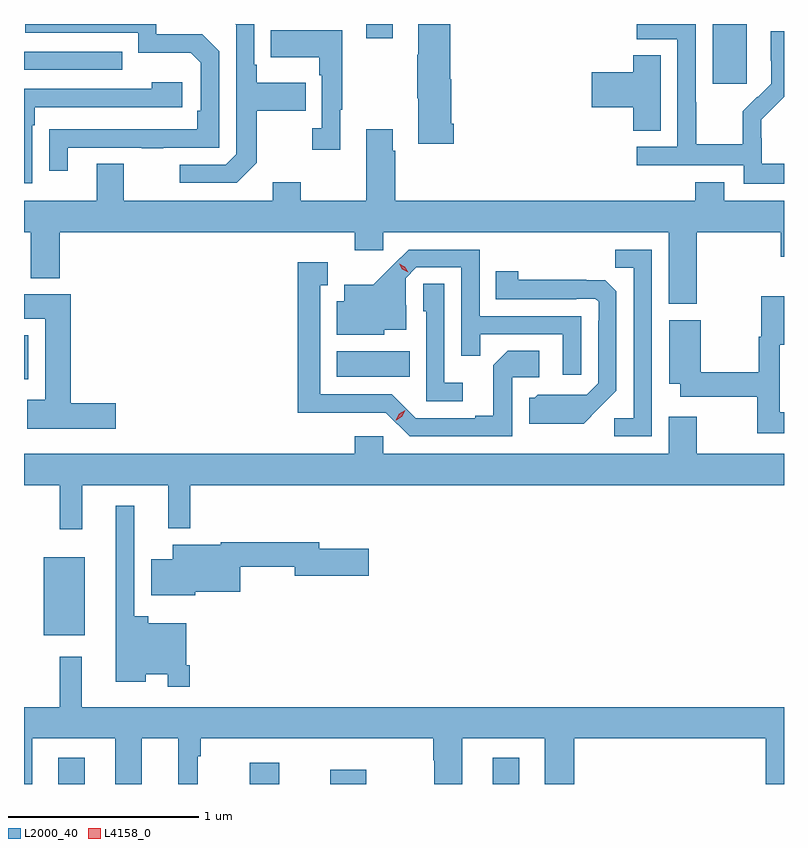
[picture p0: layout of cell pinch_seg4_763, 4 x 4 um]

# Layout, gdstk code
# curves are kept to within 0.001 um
import gdstk
lib = gdstk.Library(unit=1e-6, precision=1e-09)
def R(c, l, rs):  # rectangles x0, y0, x1, y1
    for r in rs: c.add(gdstk.rectangle(r[:2], r[2:], *l))
def P(c, l, *ps):  # polygons
    for p in ps: c.add(gdstk.Polygon(p, *l))
L2000_40 = (2000, 40)
L4158_0 = (4158, 0)

pinch_seg4_763 = lib.new_cell('pinch_seg4_763')
R(pinch_seg4_763, L2000_40, [(793.469,823.219,793.609,823.357), (794.477,823.219,794.632,823.33), (794.901,823.219,795.091,823.294), (795.755,823.219,795.895,823.357), (793.394,824.003,793.609,824.413), (793.289,825.35,793.312,825.58), (794.936,825.362,795.32,825.496), (796.913,826.905,797.092,827.219), (793.289,826.977,793.805,827.073), (795.089,827.145,795.229,827.219)])
P(pinch_seg4_763, L2000_40, [(797.289,826.483),(797.172,826.483),(797.172,826.617),(797.17,826.617),(797.17,826.714),(797.289,826.835),(797.289,827.18),(797.22,827.18),(797.22,827.026),(797.222,827.026),(797.222,826.904),(797.151,826.833),(797.148,826.836),(797.071,826.759),(797.071,826.585),(796.827,826.585),(796.827,826.808),(796.824,826.808),(796.824,827.219),(796.515,827.219),(796.515,827.139),(796.728,827.139),(796.728,826.572),(796.515,826.572),(796.515,826.476),(797.076,826.476),(797.076,826.379),(797.289,826.379)],
  [(793.519,826.569),(793.909,826.569),(793.909,826.564),(794.021,826.564),(794.021,826.569),(794.316,826.569),(794.316,827.076),(794.226,827.166),(793.986,827.166),(793.986,827.219),(793.295,827.219),(793.295,827.172),(793.89,827.172),(793.89,827.069),(794.167,827.069),(794.22,827.016),(794.22,826.762),(794.2,826.762),(794.2,826.665),(793.423,826.664),(793.423,826.446),(793.519,826.446)],
  [(795.551,826.693),(795.538,826.693),(795.538,826.929),(795.533,826.929),(795.533,827.219),(795.365,827.219),(795.365,827.057),(795.358,827.057),(795.358,826.829),(795.365,826.829),(795.365,826.589),(795.551,826.589)],
  [(794.515,826.489),(794.515,826.762),(794.771,826.762),(794.771,826.909),(794.515,826.909),(794.515,827.005),(794.502,827.005),(794.502,827.219),(794.401,827.219),(794.406,827.214),(794.406,826.533),(794.352,826.479),(794.109,826.479),(794.109,826.383),(794.409,826.383)],
  [(794.953,826.769),(794.965,826.769),(794.965,827.185),(794.587,827.185),(794.587,827.045),(794.844,827.045),(794.844,826.949),(794.856,826.949),(794.856,826.67),(794.805,826.67),(794.805,826.557),(794.953,826.557)],
  [(796.639,827.054),(796.496,827.054),(796.496,826.964),(796.278,826.964),(796.278,826.781),(796.496,826.781),(796.496,826.657),(796.639,826.657)],
  [(793.332,826.685),(793.345,826.685),(793.345,826.782),(794.122,826.782),(794.122,826.912),(793.961,826.912),(793.961,826.878),(793.289,826.878),(793.289,826.38),(793.332,826.38)],
  [(796.83,826.124),(797.272,826.124),(797.272,825.993),(797.289,825.993),(797.289,826.288),(796.975,826.288),(796.975,826.387),(796.823,826.387),(796.823,826.288),(795.242,826.288),(795.242,826.553),(795.229,826.553),(795.229,826.666),(795.089,826.666),(795.089,826.288),(794.745,826.288),(794.745,826.387),(794.597,826.387),(794.597,826.288),(793.813,826.288),(793.813,826.483),(793.673,826.483),(793.673,826.288),(793.289,826.288),(793.289,826.124),(793.325,826.124),(793.325,825.881),(793.478,825.881),(793.478,826.124),(795.029,826.124),(795.029,826.029),(795.18,826.029),(795.18,826.124),(796.682,826.124),(796.682,825.746),(796.83,825.746)],
  [(796.593,826.032),(796.402,826.032),(796.402,825.937),(796.497,825.937),(796.497,825.144),(796.395,825.144),(796.395,825.048),(796.593,825.048)],
  [(796.221,825.681),(795.687,825.681),(795.687,826.032),(795.314,826.032),(795.127,825.847),(794.975,825.847),(794.975,825.76),(794.936,825.76),(794.936,825.584),(795.186,825.584),(795.186,825.611),(795.301,825.611),(795.301,825.74),(795.297,825.74),(795.297,825.882),(795.354,825.939),(795.591,825.939),(795.591,825.472),(795.689,825.472),(795.689,825.585),(796.125,825.585),(796.125,825.372),(796.221,825.372)],
  [(795.858,825.36),(796,825.36),(796,825.5),(795.835,825.5),(795.759,825.424),(795.759,825.157),(795.665,825.157),(795.665,825.144),(795.351,825.144),(795.225,825.27),(794.848,825.27),(794.848,825.843),(794.887,825.843),(794.887,825.964),(794.73,825.964),(794.73,825.173),(795.192,825.174),(795.318,825.048),(795.858,825.048)],
  [(796.315,825.197),(796.407,825.29),(796.407,825.812),(796.348,825.871),(795.891,825.872),(795.891,825.919),(795.772,825.919),(795.772,825.771),(796.196,825.771),(796.196,825.774),(796.296,825.774),(796.314,825.756),(796.314,825.656),(796.311,825.656),(796.311,825.327),(796.251,825.267),(795.994,825.268),(795.978,825.252),(795.947,825.252),(795.947,825.116),(796.235,825.116)],
  [(795.598,825.331),(795.501,825.331),(795.501,825.851),(795.39,825.851),(795.39,825.708),(795.405,825.708),(795.405,825.234),(795.598,825.234)],
  [(793.771,825.224),(793.535,825.224),(793.535,825.796),(793.289,825.796),(793.289,825.668),(793.4,825.668),(793.4,825.241),(793.305,825.241),(793.305,825.089),(793.771,825.089)],
  [(797.289,825.175),(797.267,825.175),(797.267,825.53),(797.289,825.53),(797.289,825.787),(797.168,825.787),(797.168,825.573),(797.157,825.573),(797.157,825.386),(796.852,825.386),(796.852,825.661),(796.685,825.661),(796.685,825.326),(796.742,825.326),(796.742,825.258),(797.149,825.258),(797.149,825.066),(797.289,825.066)],
  [(793.595,824.792),(794.048,824.792),(794.048,824.564),(794.165,824.564),(794.165,824.792),(797.289,824.792),(797.289,824.956),(796.83,824.956),(796.83,825.151),(796.682,825.151),(796.682,824.956),(795.18,824.956),(795.18,825.049),(795.029,825.049),(795.029,824.956),(793.289,824.956),(793.289,824.792),(793.477,824.792),(793.477,824.559),(793.595,824.559)],
  [(794.162,823.843),(794.142,823.843),(794.142,824.065),(793.943,824.065),(793.943,824.101),(793.869,824.101),(793.869,824.683),(793.772,824.683),(793.772,823.757),(793.93,823.757),(793.93,823.796),(794.046,823.796),(794.046,823.731),(794.162,823.731)],
  [(794.19,824.231),(794.428,824.231),(794.428,824.362),(794.714,824.362),(794.714,824.315),(795.103,824.315),(795.103,824.457),(794.842,824.457),(794.842,824.491),(794.324,824.491),(794.324,824.479),(794.072,824.479),(794.072,824.401),(793.958,824.401),(793.958,824.213),(794.19,824.213)],
  [(793.333,823.46),(793.769,823.46),(793.769,823.219),(793.909,823.219),(793.909,823.46),(794.102,823.46),(794.102,823.219),(794.204,823.219),(794.204,823.364),(794.219,823.364),(794.219,823.46),(795.443,823.46),(795.443,823.344),(795.448,823.344),(795.448,823.219),(795.595,823.219),(795.595,823.46),(796.031,823.46),(796.031,823.219),(796.184,823.219),(796.184,823.46),(797.192,823.46),(797.192,823.219),(797.289,823.219),(797.289,823.624),(793.594,823.624),(793.594,823.888),(793.477,823.888),(793.477,823.624),(793.289,823.624),(793.289,823.219),(793.333,823.219)])
P(pinch_seg4_763, L4158_0, [(795.311,825.913),(795.28,825.928),(795.263,825.957),(795.263,825.957),(795.263,825.957),(795.294,825.942),(795.311,825.913),(795.311,825.913)],
  [(795.246,825.134),(795.246,825.134),(795.263,825.167),(795.295,825.186),(795.295,825.186),(795.295,825.186),(795.278,825.153),(795.247,825.134)])

lib.write_gds('pinch_seg4_763.gds')
